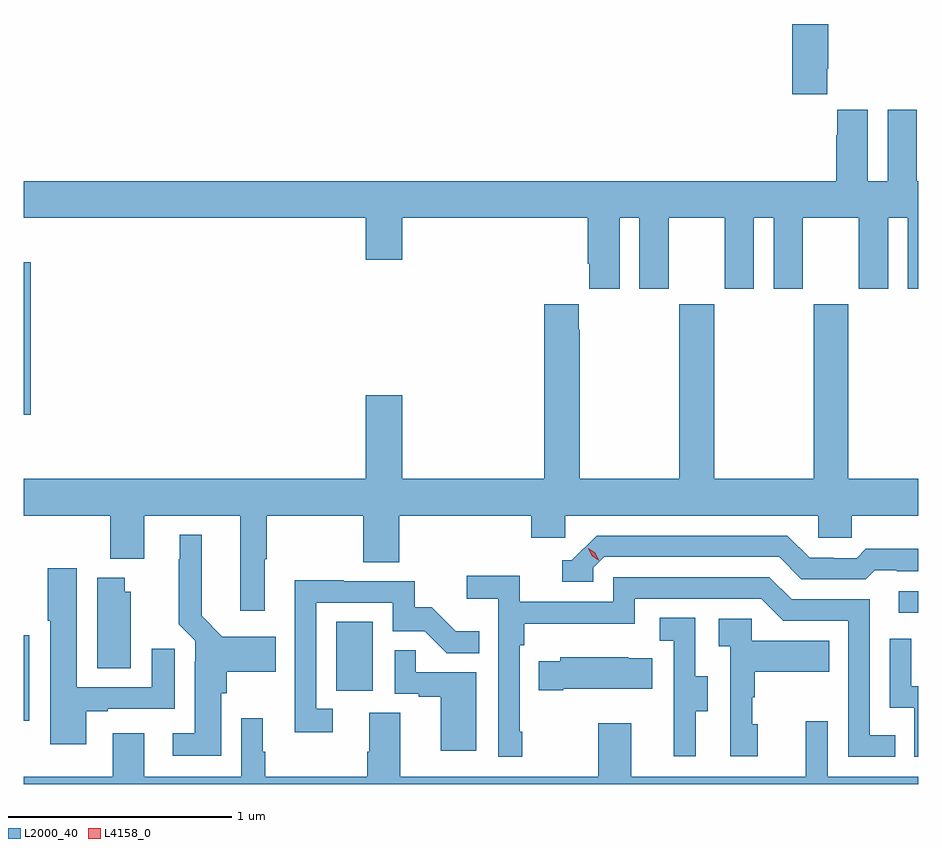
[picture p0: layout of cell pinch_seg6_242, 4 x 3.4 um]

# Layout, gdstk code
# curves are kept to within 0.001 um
import gdstk
lib = gdstk.Library(unit=1e-6, precision=1e-09)
def R(c, l, rs):  # rectangles x0, y0, x1, y1
    for r in rs: c.add(gdstk.rectangle(r[:2], r[2:], *l))
def P(c, l, *ps):  # polygons
    for p in ps: c.add(gdstk.Polygon(p, *l))
L2000_40 = (2000, 40)
L4158_0 = (4158, 0)

pinch_seg6_242 = lib.new_cell('pinch_seg6_242')
R(pinch_seg6_242, L2000_40, [(1140.501,915.783,1140.526,916.164), (1141.898,915.918,1142.062,916.225), (1144.413,916.266,1144.501,916.362), (1140.501,917.152,1140.533,917.833)])
P(pinch_seg6_242, L2000_40, [(1144.093,918.697),(1144.098,918.697),(1144.098,918.898),(1143.938,918.898),(1143.938,918.585),(1144.093,918.585)],
  [(1143.166,918.032),(1143.254,918.032),(1143.254,917.715),(1143.385,917.715),(1143.385,918.032),(1143.635,918.032),(1143.635,917.715),(1143.766,917.715),(1143.766,918.032),(1143.854,918.032),(1143.854,917.715),(1143.985,917.715),(1143.985,918.032),(1144.235,918.032),(1144.235,917.715),(1144.366,917.715),(1144.366,918.032),(1144.454,918.032),(1144.454,917.715),(1144.501,917.715),(1144.501,918.196),(1144.495,918.196),(1144.495,918.514),(1144.364,918.514),(1144.364,918.196),(1144.276,918.196),(1144.276,918.514),(1144.139,918.514),(1144.139,918.401),(1144.133,918.401),(1144.133,918.196),(1140.501,918.196),(1140.501,918.032),(1142.03,918.032),(1142.03,917.844),(1142.194,917.844),(1142.194,918.032),(1143.023,918.032),(1143.023,917.827),(1143.029,917.827),(1143.029,917.715),(1143.166,917.715)],
  [(1141.579,916.504),(1141.587,916.504),(1141.587,916.7),(1142.02,916.7),(1142.02,916.492),(1142.18,916.492),(1142.18,916.7),(1142.771,916.7),(1142.771,916.602),(1142.922,916.602),(1142.922,916.7),(1144.053,916.7),(1144.053,916.602),(1144.203,916.602),(1144.203,916.7),(1144.501,916.7),(1144.501,916.864),(1144.188,916.864),(1144.188,917.644),(1144.033,917.644),(1144.033,916.864),(1143.588,916.864),(1143.588,917.644),(1143.433,917.644),(1143.433,916.864),(1142.988,916.864),(1142.988,917.531),(1142.983,917.531),(1142.983,917.644),(1142.828,917.644),(1142.828,916.864),(1142.194,916.864),(1142.194,917.239),(1142.03,917.239),(1142.03,916.864),(1140.501,916.864),(1140.501,916.7),(1140.887,916.7),(1140.887,916.508),(1141.039,916.508),(1141.039,916.7),(1141.469,916.7),(1141.469,916.275),(1141.579,916.275)],
  [(1141.384,915.906),(1141.41,915.906),(1141.41,916.001),(1141.627,916.001),(1141.627,916.159),(1141.389,916.159),(1141.297,916.252),(1141.297,916.615),(1141.199,916.615),(1141.199,916.505),(1141.195,916.505),(1141.195,916.214),(1141.269,916.14),(1141.269,916.046),(1141.265,916.046),(1141.265,915.727),(1141.167,915.727),(1141.167,915.626),(1141.384,915.626)],
  [(1143.048,916.467),(1143.096,916.515),(1143.879,916.515),(1143.978,916.416),(1144.267,916.416),(1144.306,916.455),(1144.405,916.455),(1144.405,916.452),(1144.501,916.452),(1144.501,916.549),(1144.5,916.552),(1144.267,916.552),(1144.225,916.509),(1144.122,916.509),(1144.122,916.512),(1144.015,916.512),(1143.916,916.611),(1143.063,916.611),(1142.952,916.5),(1142.909,916.5),(1142.909,916.404),(1143.048,916.404)],
  [(1140.781,915.825),(1140.877,915.825),(1140.877,915.837),(1141.177,915.837),(1141.177,916.105),(1141.073,916.105),(1141.073,915.933),(1140.739,915.933),(1140.739,916.465),(1140.608,916.465),(1140.608,916.231),(1140.62,916.231),(1140.62,915.678),(1140.781,915.678)],
  [(1142.731,915.733),(1142.718,915.733),(1142.718,916.121),(1142.738,916.121),(1142.738,916.217),(1143.234,916.217),(1143.234,916.329),(1143.798,916.329),(1143.897,916.23),(1144.188,916.23),(1144.188,915.621),(1144.397,915.621),(1144.397,915.717),(1144.284,915.717),(1144.284,916.326),(1143.934,916.326),(1143.835,916.425),(1143.138,916.425),(1143.138,916.314),(1142.72,916.314),(1142.72,916.43),(1142.481,916.43),(1142.481,916.328),(1142.622,916.328),(1142.622,915.621),(1142.731,915.621)],
  [(1140.979,916.359),(1140.952,916.359),(1140.952,916.423),(1140.83,916.423),(1140.83,916.018),(1140.979,916.018)],
  [(1141.882,915.837),(1141.809,915.837),(1141.809,916.311),(1142.151,916.311),(1142.151,916.182),(1142.295,916.182),(1142.393,916.084),(1142.537,916.084),(1142.537,916.183),(1142.433,916.183),(1142.326,916.29),(1142.25,916.29),(1142.25,916.407),(1141.931,916.407),(1141.931,916.412),(1141.713,916.412),(1141.713,915.732),(1141.882,915.732)],
  [(1143.505,915.826),(1143.559,915.826),(1143.559,915.981),(1143.504,915.981),(1143.504,916.244),(1143.345,916.244),(1143.345,916.141),(1143.408,916.141),(1143.408,915.837),(1143.407,915.837),(1143.407,915.624),(1143.505,915.624)],
  [(1143.784,915.768),(1143.759,915.768),(1143.759,915.887),(1143.769,915.887),(1143.769,916.001),(1144.103,916.001),(1144.103,916.141),(1143.756,916.141),(1143.756,916.239),(1143.609,916.239),(1143.609,916.115),(1143.66,916.115),(1143.66,915.624),(1143.784,915.624)],
  [(1144.501,915.938),(1144.47,915.938),(1144.47,916.15),(1144.374,916.15),(1144.374,915.84),(1144.482,915.84),(1144.482,915.621),(1144.501,915.621)],
  [(1142.524,915.999),(1142.255,915.999),(1142.255,916.097),(1142.16,916.097),(1142.16,915.903),(1142.267,915.903),(1142.267,915.891),(1142.366,915.891),(1142.366,915.648),(1142.524,915.648)],
  [(1142.914,915.926),(1143.311,915.926),(1143.311,916.063),(1143.203,916.063),(1143.203,916.066),(1142.901,916.066),(1142.901,916.048),(1142.803,916.048),(1142.803,915.919),(1142.914,915.919)],
  [(1144.501,915.532),(1144.095,915.532),(1144.095,915.781),(1143.998,915.781),(1143.998,915.532),(1143.217,915.532),(1143.217,915.772),(1143.07,915.772),(1143.07,915.532),(1142.185,915.532),(1142.185,915.818),(1142.045,915.818),(1142.045,915.644),(1142.038,915.644),(1142.038,915.532),(1141.582,915.532),(1141.582,915.644),(1141.57,915.644),(1141.57,915.793),(1141.473,915.793),(1141.473,915.532),(1141.039,915.532),(1141.039,915.727),(1140.899,915.727),(1140.899,915.532),(1140.501,915.532),(1140.501,915.5),(1144.501,915.5)])
P(pinch_seg6_242, L4158_0, [(1143.071,916.501),(1143.041,916.521),(1143.025,916.553),(1143.025,916.553),(1143.026,916.553),(1143.056,916.534),(1143.072,916.502),(1143.072,916.501)])

lib.write_gds('pinch_seg6_242.gds')
